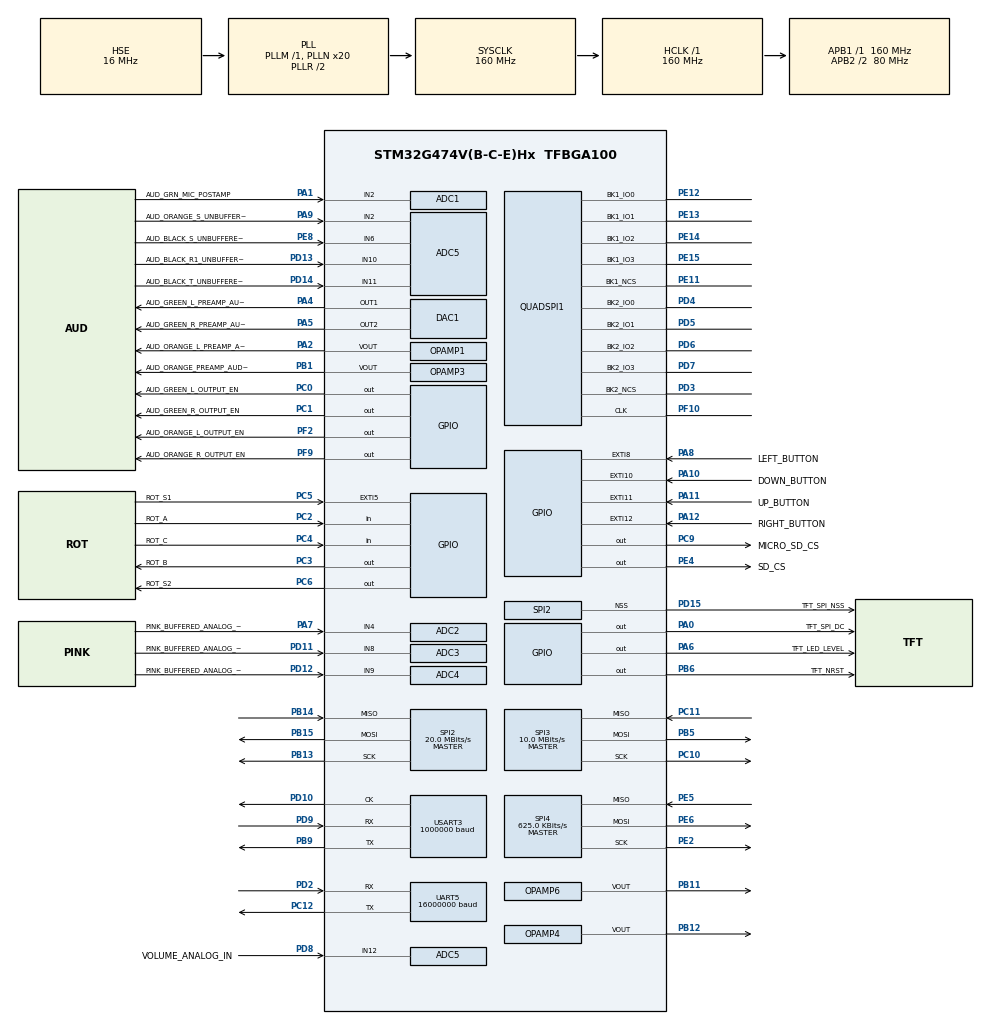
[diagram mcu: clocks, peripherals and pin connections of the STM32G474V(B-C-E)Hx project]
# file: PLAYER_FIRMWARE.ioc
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ADC1.Channel-0\#ChannelRegularConversion=ADC_CHANNEL_2
ADC1.NbrOfConversionFlag=1
ADC1.OffsetNumber-0\#ChannelRegularConversion=ADC_OFFSET_NONE
ADC1.Rank-0\#ChannelRegularConversion=1
ADC1.SamplingTime-0\#ChannelRegularConversion=ADC_SAMPLETIME_2CYCLES_5
ADC1.master=1
ADC2.Channel-0\#ChannelRegularConversion=ADC_CHANNEL_4
ADC2.NbrOfConversionFlag=1
ADC2.OffsetNumber-0\#ChannelRegularConversion=ADC_OFFSET_NONE
ADC2.Rank-0\#ChannelRegularConversion=1
ADC2.SamplingTime-0\#ChannelRegularConversion=ADC_SAMPLETIME_2CYCLES_5
ADC3.Channel-0\#ChannelRegularConversion=ADC_CHANNEL_8
ADC3.NbrOfConversionFlag=1
ADC3.OffsetNumber-0\#ChannelRegularConversion=ADC_OFFSET_NONE
ADC3.Rank-0\#ChannelRegularConversion=1
ADC3.SamplingTime-0\#ChannelRegularConversion=ADC_SAMPLETIME_2CYCLES_5
ADC3.master=1
ADC4.Channel-0\#ChannelRegularConversion=ADC_CHANNEL_9
ADC4.NbrOfConversionFlag=1
ADC4.OffsetNumber-0\#ChannelRegularConversion=ADC_OFFSET_NONE
ADC4.Rank-0\#ChannelRegularConversion=1
ADC4.SamplingTime-0\#ChannelRegularConversion=ADC_SAMPLETIME_2CYCLES_5
ADC5.Channel-0\#ChannelRegularConversion=ADC_CHANNEL_2
ADC5.NbrOfConversionFlag=1
ADC5.OffsetNumber-0\#ChannelRegularConversion=ADC_OFFSET_NONE
ADC5.Rank-0\#ChannelRegularConversion=1
ADC5.SamplingTime-0\#ChannelRegularConversion=ADC_SAMPLETIME_2CYCLES_5
DAC1.DAC_Channel-DAC_OUT2=DAC_CHANNEL_2
DAC1.DAC_DMADoubleDataMode-DAC_OUT1=DISABLE
DAC1.DAC_DMADoubleDataMode-DAC_OUT2=DISABLE
DAC1.DAC_Trigger_OUT1-DAC_OUT1=DAC_TRIGGER_T6_TRGO
DAC1.DAC_Trigger_OUT2-DAC_OUT2=DAC_TRIGGER_T6_TRGO
DAC3.DAC_Channel-DAC_OUT2_Int=DAC_CHANNEL_2
DAC4.DAC_Channel-DAC_OUT2_Int=DAC_CHANNEL_2
Dma.DAC1_CH1.0.Direction=DMA_MEMORY_TO_PERIPH
Dma.DAC1_CH1.0.EventEnable=DISABLE
Dma.DAC1_CH1.0.Instance=DMA1_Channel1
Dma.DAC1_CH1.0.MemDataAlignment=DMA_MDATAALIGN_HALFWORD
Dma.DAC1_CH1.0.MemInc=DMA_MINC_ENABLE
Dma.DAC1_CH1.0.Mode=DMA_CIRCULAR
Dma.DAC1_CH1.0.PeriphDataAlignment=DMA_PDATAALIGN_HALFWORD
Dma.DAC1_CH1.0.PeriphInc=DMA_PINC_DISABLE
Dma.DAC1_CH1.0.Polarity=HAL_DMAMUX_REQ_GEN_RISING
Dma.DAC1_CH1.0.Priority=DMA_PRIORITY_MEDIUM
Dma.DAC1_CH1.0.RequestNumber=1
Dma.DAC1_CH1.0.SignalID=NONE
Dma.DAC1_CH1.0.SyncEnable=DISABLE
Dma.DAC1_CH1.0.SyncPolarity=HAL_DMAMUX_SYNC_NO_EVENT
Dma.DAC1_CH1.0.SyncRequestNumber=1
Dma.DAC1_CH1.0.SyncSignalID=NONE
Dma.DAC1_CH2.2.Direction=DMA_MEMORY_TO_PERIPH
Dma.DAC1_CH2.2.EventEnable=DISABLE
Dma.DAC1_CH2.2.Instance=DMA1_Channel2
Dma.DAC1_CH2.2.MemDataAlignment=DMA_MDATAALIGN_HALFWORD
Dma.DAC1_CH2.2.MemInc=DMA_MINC_ENABLE
Dma.DAC1_CH2.2.Mode=DMA_CIRCULAR
Dma.DAC1_CH2.2.PeriphDataAlignment=DMA_PDATAALIGN_HALFWORD
Dma.DAC1_CH2.2.PeriphInc=DMA_PINC_DISABLE
Dma.DAC1_CH2.2.Polarity=HAL_DMAMUX_REQ_GEN_RISING
Dma.DAC1_CH2.2.Priority=DMA_PRIORITY_MEDIUM
Dma.DAC1_CH2.2.RequestNumber=1
Dma.DAC1_CH2.2.SignalID=NONE
Dma.DAC1_CH2.2.SyncEnable=DISABLE
Dma.DAC1_CH2.2.SyncPolarity=HAL_DMAMUX_SYNC_NO_EVENT
Dma.DAC1_CH2.2.SyncRequestNumber=1
Dma.DAC1_CH2.2.SyncSignalID=NONE
Dma.Request0=DAC1_CH1
Dma.Request1=UART5_TX
Dma.Request2=DAC1_CH2
Dma.UART5_TX.1.Direction=DMA_MEMORY_TO_PERIPH
Dma.UART5_TX.1.EventEnable=ENABLE
Dma.UART5_TX.1.Instance=DMA2_Channel1
Dma.UART5_TX.1.MemDataAlignment=DMA_MDATAALIGN_BYTE
Dma.UART5_TX.1.MemInc=DMA_MINC_ENABLE
Dma.UART5_TX.1.Mode=DMA_NORMAL
Dma.UART5_TX.1.PeriphDataAlignment=DMA_PDATAALIGN_BYTE
Dma.UART5_TX.1.PeriphInc=DMA_PINC_DISABLE
Dma.UART5_TX.1.Polarity=HAL_DMAMUX_REQ_GEN_RISING
Dma.UART5_TX.1.Priority=DMA_PRIORITY_MEDIUM
Dma.UART5_TX.1.RequestNumber=1
Dma.UART5_TX.1.SignalID=NONE
Dma.UART5_TX.1.SyncEnable=DISABLE
Dma.UART5_TX.1.SyncPolarity=HAL_DMAMUX_SYNC_NO_EVENT
Dma.UART5_TX.1.SyncRequestNumber=1
Dma.UART5_TX.1.SyncSignalID=NONE
FATFS._MAX_LFN=128
FATFS._USE_LFN=3
FREERTOS.INCLUDE_pcTaskGetTaskName=1
FREERTOS.INCLUDE_xTaskGetHandle=1
FREERTOS.Tasks01=defaultTask,24,512,StartDefaultTask,Default,NULL,Static,defaultTaskBuffer,defaultTaskControlBlock
FREERTOS.configENABLE_FPU=1
FREERTOS.configMAX_TASK_NAME_LEN=64
FREERTOS.configUSE_NEWLIB_REENTRANT=1
Mcu.Family=STM32G4
Mcu.Name=STM32G474V(B-C-E)Hx
Mcu.Package=TFBGA100
NVIC.DMA1_Channel1_IRQn=true\:5\:0\:false\:false\:true\:false\:false\:true\:true
NVIC.DMA1_Channel2_IRQn=true\:5\:0\:false\:false\:true\:true\:false\:true\:true
NVIC.DMA2_Channel1_IRQn=true\:5\:0\:false\:false\:true\:false\:false\:true\:true
NVIC.DMAMUX_OVR_IRQn=true\:5\:0\:false\:false\:true\:false\:false\:true\:true
NVIC.EXTI15_10_IRQn=true\:5\:0\:false\:false\:true\:true\:true\:true\:true
NVIC.EXTI9_5_IRQn=true\:5\:0\:false\:false\:true\:true\:true\:true\:true
NVIC.PriorityGroup=NVIC_PRIORITYGROUP_4
NVIC.SPI4_IRQn=true\:5\:0\:false\:false\:true\:true\:true\:true\:true
NVIC.TIM2_IRQn=true\:5\:0\:false\:false\:true\:true\:true\:true\:true
NVIC.TIM6_DAC_IRQn=true\:5\:0\:false\:false\:true\:true\:true\:true\:true
NVIC.TIM7_DAC_IRQn=true\:15\:0\:false\:false\:true\:false\:false\:true\:true
NVIC.TimeBase=TIM7_DAC_IRQn
NVIC.TimeBaseIP=TIM7
NVIC.UART5_IRQn=true\:5\:0\:false\:false\:true\:true\:true\:true\:true
PA0.GPIO_Label=TFT_SPI_DC
PA0.Signal=GPIO_Output
PA1.GPIO_Label=AUD_GRN_MIC_POSTAMP
PA1.Mode=IN2-Single-Ended
PA1.Signal=ADC1_IN2
PA10.GPIO_Label=DOWN_BUTTON
PA10.GPIO_ModeDefaultEXTI=GPIO_MODE_IT_RISING_FALLING
PA10.GPIO_PuPd=GPIO_PULLUP
PA10.Signal=GPXTI10
PA11.GPIO_Label=UP_BUTTON
PA11.GPIO_ModeDefaultEXTI=GPIO_MODE_IT_RISING_FALLING
PA11.GPIO_PuPd=GPIO_PULLUP
PA11.Signal=GPXTI11
PA12.GPIO_Label=RIGHT_BUTTON
PA12.GPIO_ModeDefaultEXTI=GPIO_MODE_IT_RISING_FALLING
PA12.GPIO_PuPd=GPIO_PULLUP
PA12.Signal=GPXTI12
PA13.Mode=JTAG_5_pins
PA13.Signal=SYS_JTMS-SWDIO
PA14.Mode=JTAG_5_pins
PA14.Signal=SYS_JTCK-SWCLK
PA15.Mode=JTAG_5_pins
PA15.Signal=SYS_JTDI
PA2.GPIO_Label=AUD_ORANGE_L_PREAMP_AUDIO
PA2.Mode=Follower-DAC_OUT2-INP
PA2.Signal=OPAMP1_VOUT
PA4.GPIO_Label=AUD_GREEN_L_PREAMP_AUDIO
PA4.Signal=COMP_DAC11_group
PA5.GPIO_Label=AUD_GREEN_R_PREAMP_AUDIO
PA5.Signal=COMP_DAC12_group
PA6.GPIO_Label=TFT_LED_LEVEL
PA6.Signal=GPIO_Output
PA7.GPIO_Label=PINK_BUFFERED_ANALOG_IN_S
PA7.Mode=IN4-Single-Ended
PA7.Signal=ADC2_IN4
PA8.GPIO_Label=LEFT_BUTTON
PA8.GPIO_ModeDefaultEXTI=GPIO_MODE_IT_RISING_FALLING
PA8.GPIO_PuPd=GPIO_PULLUP
PA8.Signal=GPXTI8
PA9.GPIO_Label=AUD_ORANGE_S_UNBUFFERED_IN
PA9.Mode=IN2-Single-Ended
PA9.Signal=ADC5_IN2
PB1.GPIO_Label=AUD_ORANGE_PREAMP_AUDIO
PB1.Mode=Follower-DAC_OUT2-INP
PB1.Signal=OPAMP3_VOUT
PB11.Mode=Follower-DAC_OUT2-INP
PB11.Signal=OPAMP6_VOUT
PB12.Mode=Follower-DAC_OUT2-INP
PB12.Signal=OPAMP4_VOUT
PB13.Mode=Full_Duplex_Master
PB13.Signal=SPI2_SCK
PB14.Mode=Full_Duplex_Master
PB14.Signal=SPI2_MISO
PB15.Mode=Full_Duplex_Master
PB15.Signal=SPI2_MOSI
PB3.Mode=JTAG_5_pins
PB3.Signal=SYS_JTDO-SWO
PB4.Mode=JTAG_5_pins
PB4.Signal=SYS_JTRST
PB5.Mode=Full_Duplex_Master
PB5.Signal=SPI3_MOSI
PB6.GPIO_Label=TFT_NRST
PB6.Signal=GPIO_Output
PB9.Mode=Synchronous
PB9.Signal=USART3_TX
PC0.GPIO_Label=AUD_GREEN_L_OUTPUT_EN
PC0.Signal=GPIO_Output
PC1.GPIO_Label=AUD_GREEN_R_OUTPUT_EN
PC1.Signal=GPIO_Output
PC10.Mode=Full_Duplex_Master
PC10.Signal=SPI3_SCK
PC11.Mode=Full_Duplex_Master
PC11.Signal=SPI3_MISO
PC12.Mode=Asynchronous
PC12.Signal=UART5_TX
PC14-OSC32_IN.Mode=LSE-External-Oscillator
PC14-OSC32_IN.Signal=RCC_OSC32_IN
PC15-OSC32_OUT.Mode=LSE-External-Oscillator
PC15-OSC32_OUT.Signal=RCC_OSC32_OUT
PC2.GPIO_Label=ROT_A
PC2.GPIO_PuPd=GPIO_PULLUP
PC2.Signal=GPIO_Input
PC3.GPIO_Label=ROT_B
PC3.Signal=GPIO_Output
PC4.GPIO_Label=ROT_C
PC4.GPIO_PuPd=GPIO_PULLUP
PC4.Signal=GPIO_Input
PC5.GPIO_Label=ROT_S1
PC5.GPIO_ModeDefaultEXTI=GPIO_MODE_IT_RISING_FALLING
PC5.GPIO_PuPd=GPIO_PULLUP
PC5.Signal=GPXTI5
PC6.GPIO_Label=ROT_S2
PC6.Signal=GPIO_Output
PC9.GPIO_Label=MICRO_SD_CS
PC9.Signal=GPIO_Output
PD1.GPIO_Label=BRIDGE_CLK
PD1.Signal=S_TIM8_CH4
PD10.Mode=Synchronous
PD10.Signal=USART3_CK
PD11.GPIO_Label=PINK_BUFFERED_ANALOG_IN_R1
PD11.Mode=IN8-Single-Ended
PD11.Signal=ADC3_IN8
PD12.GPIO_Label=PINK_BUFFERED_ANALOG_IN_T
PD12.Mode=IN9-Single-Ended
PD12.Signal=ADC4_IN9
PD13.GPIO_Label=AUD_BLACK_R1_UNBUFFERED_IN
PD13.Mode=IN10-Single-Ended
PD13.Signal=ADC5_IN10
PD14.GPIO_Label=AUD_BLACK_T_UNBUFFERED_IN
PD14.Mode=IN11-Single-Ended
PD14.Signal=ADC5_IN11
PD15.GPIO_Label=TFT_SPI_NSS
PD15.Mode=NSS_Signal_Hard_Output
PD15.Signal=SPI2_NSS
PD2.Mode=Asynchronous
PD2.Signal=UART5_RX
PD3.Mode=Enable Chip Select for each bank
PD3.Signal=QUADSPI1_BK2_NCS
PD4.Mode=Dual Bank
PD4.Signal=QUADSPI1_BK2_IO0
PD5.Mode=Dual Bank
PD5.Signal=QUADSPI1_BK2_IO1
PD6.Mode=Dual Bank
PD6.Signal=QUADSPI1_BK2_IO2
PD7.Mode=Dual Bank
PD7.Signal=QUADSPI1_BK2_IO3
PD8.GPIO_Label=VOLUME_ANALOG_IN
PD8.Mode=IN12-Single-Ended
PD8.Signal=ADC5_IN12
PD9.Mode=Synchronous
PD9.Signal=USART3_RX
PE11.Mode=Enable Chip Select for each bank
PE11.Signal=QUADSPI1_BK1_NCS
PE12.Mode=Dual Bank
PE12.Signal=QUADSPI1_BK1_IO0
PE13.Mode=Dual Bank
PE13.Signal=QUADSPI1_BK1_IO1
PE14.Mode=Dual Bank
PE14.Signal=QUADSPI1_BK1_IO2
PE15.Mode=Dual Bank
PE15.Signal=QUADSPI1_BK1_IO3
PE2.GPIO_PuPd=GPIO_PULLUP
PE2.GPIO_Speed=GPIO_SPEED_FREQ_VERY_HIGH
PE2.Mode=Full_Duplex_Master
PE2.Signal=SPI4_SCK
PE4.GPIO_Label=SD_CS
PE4.GPIO_Speed=GPIO_SPEED_FREQ_VERY_HIGH
PE4.PinState=GPIO_PIN_SET
PE4.Signal=GPIO_Output
PE5.GPIO_PuPd=GPIO_PULLUP
PE5.GPIO_Speed=GPIO_SPEED_FREQ_VERY_HIGH
PE5.Mode=Full_Duplex_Master
PE5.Signal=SPI4_MISO
PE6.GPIO_PuPd=GPIO_PULLUP
PE6.GPIO_Speed=GPIO_SPEED_FREQ_VERY_HIGH
PE6.Mode=Full_Duplex_Master
PE6.Signal=SPI4_MOSI
PE8.GPIO_Label=AUD_BLACK_S_UNBUFFERED_IN
PE8.Mode=IN6-Single-Ended
PE8.Signal=ADC5_IN6
PF0-OSC_IN.Mode=HSE-External-Oscillator
PF0-OSC_IN.Signal=RCC_OSC_IN
PF1-OSC_OUT.Mode=HSE-External-Oscillator
PF1-OSC_OUT.Signal=RCC_OSC_OUT
PF10.Mode=Dual Bank
PF10.Signal=QUADSPI1_CLK
PF2.GPIO_Label=AUD_ORANGE_L_OUTPUT_EN
PF2.Signal=GPIO_Output
PF9.GPIO_Label=AUD_ORANGE_R_OUTPUT_EN
PF9.Signal=GPIO_Output
ProjectManager.HeapSize=0x200
ProjectManager.StackSize=0x400
ProjectManager.TargetToolchain=STM32CubeIDE
QUADSPI1.ClockMode=QSPI_CLOCK_MODE_3
QUADSPI1.ClockPrescaler=1
QUADSPI1.FlashSize=25
RCC.ADC12Freq_Value=160000000
RCC.ADC345Freq_Value=160000000
RCC.AHBFreq_Value=160000000
RCC.APB1Freq_Value=160000000
RCC.APB1TimFreq_Value=160000000
RCC.APB2CLKDivider=RCC_HCLK_DIV2
RCC.APB2Freq_Value=80000000
RCC.APB2TimFreq_Value=160000000
RCC.CortexFreq_Value=160000000
RCC.EXTERNAL_CLOCK_VALUE=12288000
RCC.EnbaleCSS=true
RCC.HCLKFreq_Value=160000000
RCC.HSE_VALUE=16000000
RCC.HSI48_VALUE=48000000
RCC.HSI_VALUE=16000000
RCC.PLLN=20
RCC.PLLQ=RCC_PLLQ_DIV4
RCC.PLLSourceVirtual=RCC_PLLSOURCE_HSE
RCC.SYSCLKFreq_VALUE=160000000
RCC.SYSCLKSource=RCC_SYSCLKSOURCE_PLLCLK
RCC.UART5CLockSelection=RCC_UART5CLKSOURCE_SYSCLK
RCC.USBFreq_Value=80000000
RCC.VCOOutputFreq_Value=320000000
SH.COMP_DAC11_group.0=DAC1_OUT1,DAC_OUT1
SH.COMP_DAC12_group.0=DAC1_OUT2,DAC_OUT2
SH.S_TIM8_CH4.0=TIM8_CH4
SPI2.BaudRatePrescaler=SPI_BAUDRATEPRESCALER_8
SPI2.CalculateBaudRate=20.0 MBits/s
SPI2.DataSize=SPI_DATASIZE_8BIT
SPI2.Direction=SPI_DIRECTION_2LINES
SPI2.Mode=SPI_MODE_MASTER
SPI2.VirtualNSS=VM_NSSHARD
SPI2.VirtualType=VM_MASTER
SPI3.BaudRatePrescaler=SPI_BAUDRATEPRESCALER_16
SPI3.CalculateBaudRate=10.0 MBits/s
SPI3.DataSize=SPI_DATASIZE_8BIT
SPI3.Direction=SPI_DIRECTION_2LINES
SPI3.Mode=SPI_MODE_MASTER
SPI3.VirtualType=VM_MASTER
SPI4.BaudRatePrescaler=SPI_BAUDRATEPRESCALER_128
SPI4.CLKPolarity=SPI_POLARITY_LOW
SPI4.CalculateBaudRate=625.0 KBits/s
SPI4.DataSize=SPI_DATASIZE_8BIT
SPI4.Direction=SPI_DIRECTION_2LINES
SPI4.Mode=SPI_MODE_MASTER
SPI4.NSSPMode=SPI_NSS_PULSE_DISABLE
SPI4.VirtualType=VM_MASTER
TIM2.PeriodNoDither=10
TIM2.Prescaler=15999
TIM6.AutoReloadPreload=TIM_AUTORELOAD_PRELOAD_ENABLE
TIM6.PeriodNoDither=(3628/2)-1
TIM6.TIM_MasterOutputTrigger=TIM_TRGO_UPDATE
UART5.BaudRate=16000000
UART5.FIFOMode=FIFOMODE_ENABLE
UART5.OverSampling=UART_OVERSAMPLING_8
UART5.StopBits=UART_STOPBITS_2
UART5.SwapParam=UART_ADVFEATURE_SWAP_ENABLE
USART3.BaudRate=1000000
USART3.VirtualMode-Synchronous=VM_SYNC
VP_DAC3_VS_DACI1.Mode=DAC_OUT1_Int
VP_DAC3_VS_DACI2.Mode=DAC_OUT2_Int
VP_DAC4_VS_DACI1.Mode=DAC_OUT1_Int
VP_DAC4_VS_DACI2.Mode=DAC_OUT2_Int
VP_FATFS_VS_Generic.Mode=User_defined
VP_FREERTOS_VS_CMSIS_V2.Mode=CMSIS_V2
VP_SYS_VS_DBSignals.Mode=DisableDeadBatterySignals
VP_SYS_VS_tim7.Mode=TIM7
VP_TIM2_VS_ClockSourceINT.Mode=Internal
VP_TIM6_VS_ClockSourceINT.Mode=Enable_Timer
board=custom

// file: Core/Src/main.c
/* USER CODE BEGIN Header */
/**
  ******************************************************************************
  * @file           : main.c
  * @brief          : Main program body
  ******************************************************************************
  * @attention
  *
  * Copyright (c) 2024 STMicroelectronics.
  * All rights reserved.
  *
  * This software is licensed under terms that can be found in the LICENSE file
  * in the root directory of this software component.
  * If no LICENSE file comes with this software, it is provided AS-IS.
  *
  ******************************************************************************
  */
/* USER CODE END Header */
#include "main.h"
#include "cmsis_os.h"
#include "app_fatfs.h"

/* USER CODE BEGIN Includes */
#include <string.h>
#include <stdbool.h>

#include <FreeRTOS.h>
#include <task.h>

#include "stm32g4xx_hal.h"

#include "console.h"
#include "buttons.h"
/* USER CODE END Includes */

typedef StaticTask_t osStaticThreadDef_t;

ADC_HandleTypeDef hadc1;
ADC_HandleTypeDef hadc2;
ADC_HandleTypeDef hadc3;
ADC_HandleTypeDef hadc4;
ADC_HandleTypeDef hadc5;

DAC_HandleTypeDef hdac1;
DAC_HandleTypeDef hdac3;
DAC_HandleTypeDef hdac4;
DMA_HandleTypeDef hdma_dac1_ch1;
DMA_HandleTypeDef hdma_dac1_ch2;

OPAMP_HandleTypeDef hopamp1;
OPAMP_HandleTypeDef hopamp3;
OPAMP_HandleTypeDef hopamp4;
OPAMP_HandleTypeDef hopamp6;

QSPI_HandleTypeDef hqspi1;

SPI_HandleTypeDef hspi2;
SPI_HandleTypeDef hspi3;
SPI_HandleTypeDef hspi4;

TIM_HandleTypeDef htim2;
TIM_HandleTypeDef htim6;

UART_HandleTypeDef huart5;
USART_HandleTypeDef husart3;
DMA_HandleTypeDef hdma_uart5_tx;

/* Definitions for defaultTask */
osThreadId_t defaultTaskHandle;
uint32_t defaultTaskBuffer[ 512 ];
osStaticThreadDef_t defaultTaskControlBlock;
const osThreadAttr_t defaultTask_attributes = {
  .name = "defaultTask",
  .stack_mem = &defaultTaskBuffer[0],
  .stack_size = sizeof(defaultTaskBuffer),
  .cb_mem = &defaultTaskControlBlock,
  .cb_size = sizeof(defaultTaskControlBlock),
  .priority = (osPriority_t) osPriorityNormal,
};
/* USER CODE BEGIN PV */
	int counter;
	bool freeRTOS_ready = false;
/* USER CODE END PV */

void SystemClock_Config(void);
static void MX_GPIO_Init(void);
static void MX_DMA_Init(void);
static void MX_DAC1_Init(void);
static void MX_DAC3_Init(void);
static void MX_DAC4_Init(void);
static void MX_OPAMP1_Init(void);
static void MX_OPAMP3_Init(void);
static void MX_OPAMP4_Init(void);
static void MX_OPAMP6_Init(void);
static void MX_QUADSPI1_Init(void);
static void MX_SPI2_Init(void);
static void MX_SPI3_Init(void);
static void MX_SPI4_Init(void);
static void MX_UART5_Init(void);
static void MX_USART3_Init(void);
static void MX_ADC1_Init(void);
static void MX_ADC2_Init(void);
static void MX_ADC3_Init(void);
static void MX_ADC4_Init(void);
static void MX_ADC5_Init(void);
static void MX_TIM6_Init(void);
static void MX_TIM2_Init(void);
void StartDefaultTask(void *argument);

/* USER CODE BEGIN 0 */
#include "jeremy.h"
#include "wyatt.h"
#include "bryant.h"
#include "braeden.h"
#include "console.h"

uint8_t __attribute__((section(".sram2"))) wyatt_memspace[4096];
uint8_t __attribute__((section(".sram2"))) bryant_memspace[4096];
uint8_t __attribute__((section(".sram2"))) braeden_memspace[4096];
uint8_t __attribute__((section(".sram2"))) jeremy_memspace[4096];
uint8_t __attribute__((section(".ccm_sram_all"))) console_memspace[2048];

uint8_t __attribute__((section(".sram1_upper"))) audio_buffer[AUD_BUFFER_SIZE]; //48k

/* USER CODE END 0 */

int main(void)
{

  /* MCU Configuration--------------------------------------------------------*/

  /* Reset of all peripherals, Initializes the Flash interface and the Systick. */
  HAL_Init();

  /* Configure the system clock */
  SystemClock_Config();

  /* Initialize all configured peripherals */
  MX_GPIO_Init();
  MX_DMA_Init();
  MX_DAC1_Init();
  MX_DAC3_Init();
  MX_DAC4_Init();
  MX_OPAMP1_Init();
  MX_OPAMP3_Init();
  MX_OPAMP4_Init();
  MX_OPAMP6_Init();
  MX_QUADSPI1_Init();
  MX_SPI2_Init();
  MX_SPI3_Init();
  MX_SPI4_Init();
  MX_UART5_Init();
  MX_USART3_Init();
  MX_ADC1_Init();
  MX_ADC2_Init();
  MX_ADC3_Init();
  MX_ADC4_Init();
  MX_ADC5_Init();
  if (MX_FATFS_Init() != APP_OK) {
    Error_Handler();
  }
  MX_TIM6_Init();
  MX_TIM2_Init();
  /* USER CODE BEGIN 2 */
  empty_console_memory();
  HAL_TIM_Base_Start_IT(&htim2);
  {
	  HAL_UART_Transmit(&CONSOLE_UART_HANDLE, "\n\n-------------------------------\n" , 33, 0xFFFF);
	  const char tmp[] = "----Peripherals Initialized----\n";
	  const char tmp2[] = "\n----SYSTEM RESET---------------\n";
	  HAL_UART_Transmit(&CONSOLE_UART_HANDLE, tmp2, sizeof(tmp2) , 0xFFFF);
	  HAL_UART_Transmit(&CONSOLE_UART_HANDLE, tmp, sizeof(tmp) , 0xFFFF);
	  HAL_UART_Transmit(&CONSOLE_UART_HANDLE, "Build: " , 7, 0xFFFF);
	  HAL_UART_Transmit(&CONSOLE_UART_HANDLE, __DATE__, sizeof(__DATE__) , 0xFFFF);
	  HAL_UART_Transmit(&CONSOLE_UART_HANDLE, " " , 1, 0xFFFF);
	  HAL_UART_Transmit(&CONSOLE_UART_HANDLE, __TIME__, sizeof(__TIME__) , 0xFFFF);
	  HAL_UART_Transmit(&CONSOLE_UART_HANDLE, "\n" , 1, 0xFFFF);
	  HAL_UART_Transmit(&CONSOLE_UART_HANDLE, "-------------------------------\n" , 32, 0xFFFF);
  }
  freeRTOS_ready = true;
  HAL_TIM_Base_Start_IT(&AUDIO_44_1_KHZ_TIMER);
  /* USER CODE END 2 */

  /* Init scheduler */
  osKernelInitialize();

  /* Create the thread(s) */
  /* creation of defaultTask */
  defaultTaskHandle = osThreadNew(StartDefaultTask, NULL, &defaultTask_attributes);

  /* USER CODE BEGIN RTOS_THREADS */
  static StaticTask_t threads[5];
  xTaskCreateStatic(console_main, 	"console_main_thread", 	512, NULL, 5, (StackType_t *)console_memspace, 	&threads[4]);
  xTaskCreateStatic(wyatt_main, 	"wyatt_main_thread", 	1024, NULL, 5, (StackType_t *)wyatt_memspace, 	&threads[0]);
  xTaskCreateStatic(jeremy_main, 	"jeremy_main_thread", 	1024, NULL, 5, (StackType_t *)jeremy_memspace, 	&threads[1]);
  xTaskCreateStatic(bryant_main, 	"bryant_main_thread", 	1024, NULL, 5, (StackType_t *)bryant_memspace, 	&threads[2]);
  xTaskCreateStatic(braeden_main, 	"braeden_main_thread", 	1024, NULL, 5, (StackType_t *)braeden_memspace, &threads[3]);

  /* USER CODE END RTOS_THREADS */

  /* Start scheduler */
  osKernelStart();
  /* We should never get here as control is now taken by the scheduler */
  /* Infinite loop */
  while (1)
  {

  }
}

void SystemClock_Config(void)
{
  RCC_OscInitTypeDef RCC_OscInitStruct = {0};
  RCC_ClkInitTypeDef RCC_ClkInitStruct = {0};

  /** Configure the main internal regulator output voltage
  */
  HAL_PWREx_ControlVoltageScaling(PWR_REGULATOR_VOLTAGE_SCALE1_BOOST);

  /** Initializes the RCC Oscillators according to the specified parameters
  * in the RCC_OscInitTypeDef structure.
  */
  RCC_OscInitStruct.OscillatorType = RCC_OSCILLATORTYPE_HSE;
  RCC_OscInitStruct.HSEState = RCC_HSE_ON;
  RCC_OscInitStruct.PLL.PLLState = RCC_PLL_ON;
  RCC_OscInitStruct.PLL.PLLSource = RCC_PLLSOURCE_HSE;
  RCC_OscInitStruct.PLL.PLLM = RCC_PLLM_DIV1;
  RCC_OscInitStruct.PLL.PLLN = 20;
  RCC_OscInitStruct.PLL.PLLP = RCC_PLLP_DIV2;
  RCC_OscInitStruct.PLL.PLLQ = RCC_PLLQ_DIV4;
  RCC_OscInitStruct.PLL.PLLR = RCC_PLLR_DIV2;
  if (HAL_RCC_OscConfig(&RCC_OscInitStruct) != HAL_OK)
  {
    Error_Handler();
  }

  /** Initializes the CPU, AHB and APB buses clocks
  */
  RCC_ClkInitStruct.ClockType = RCC_CLOCKTYPE_HCLK|RCC_CLOCKTYPE_SYSCLK
                              |RCC_CLOCKTYPE_PCLK1|RCC_CLOCKTYPE_PCLK2;
  RCC_ClkInitStruct.SYSCLKSource = RCC_SYSCLKSOURCE_PLLCLK;
  RCC_ClkInitStruct.AHBCLKDivider = RCC_SYSCLK_DIV1;
  RCC_ClkInitStruct.APB1CLKDivider = RCC_HCLK_DIV1;
  RCC_ClkInitStruct.APB2CLKDivider = RCC_HCLK_DIV2;

  if (HAL_RCC_ClockConfig(&RCC_ClkInitStruct, FLASH_LATENCY_4) != HAL_OK)
  {
    Error_Handler();
  }

  /** Enables the Clock Security System
  */
  HAL_RCC_EnableCSS();
}

static void MX_ADC1_Init(void)
{

  ADC_MultiModeTypeDef multimode = {0};
  ADC_ChannelConfTypeDef sConfig = {0};

  /** Common config
  */
  hadc1.Instance = ADC1;
  hadc1.Init.ClockPrescaler = ADC_CLOCK_SYNC_PCLK_DIV4;
  hadc1.Init.Resolution = ADC_RESOLUTION_12B;
  hadc1.Init.DataAlign = ADC_DATAALIGN_RIGHT;
  hadc1.Init.GainCompensation = 0;
  hadc1.Init.ScanConvMode = ADC_SCAN_DISABLE;
  hadc1.Init.EOCSelection = ADC_EOC_SINGLE_CONV;
  hadc1.Init.LowPowerAutoWait = DISABLE;
  hadc1.Init.ContinuousConvMode = DISABLE;
  hadc1.Init.NbrOfConversion = 1;
  hadc1.Init.DiscontinuousConvMode = DISABLE;
  hadc1.Init.ExternalTrigConv = ADC_SOFTWARE_START;
  hadc1.Init.ExternalTrigConvEdge = ADC_EXTERNALTRIGCONVEDGE_NONE;
  hadc1.Init.DMAContinuousRequests = DISABLE;
  hadc1.Init.Overrun = ADC_OVR_DATA_PRESERVED;
  hadc1.Init.OversamplingMode = DISABLE;
  if (HAL_ADC_Init(&hadc1) != HAL_OK)
  {
    Error_Handler();
  }

  /** Configure the ADC multi-mode
  */
  multimode.Mode = ADC_MODE_INDEPENDENT;
  if (HAL_ADCEx_MultiModeConfigChannel(&hadc1, &multimode) != HAL_OK)
  {
    Error_Handler();
  }

  /** Configure Regular Channel
  */
  sConfig.Channel = ADC_CHANNEL_2;
  sConfig.Rank = ADC_REGULAR_RANK_1;
  sConfig.SamplingTime = ADC_SAMPLETIME_2CYCLES_5;
  sConfig.SingleDiff = ADC_SINGLE_ENDED;
  sConfig.OffsetNumber = ADC_OFFSET_NONE;
  sConfig.Offset = 0;
  if (HAL_ADC_ConfigChannel(&hadc1, &sConfig) != HAL_OK)
  {
    Error_Handler();
  }

}

static void MX_ADC2_Init(void)
{

  ADC_ChannelConfTypeDef sConfig = {0};

  /** Common config
  */
  hadc2.Instance = ADC2;
  hadc2.Init.ClockPrescaler = ADC_CLOCK_SYNC_PCLK_DIV4;
  hadc2.Init.Resolution = ADC_RESOLUTION_12B;
  hadc2.Init.DataAlign = ADC_DATAALIGN_RIGHT;
  hadc2.Init.GainCompensation = 0;
  hadc2.Init.ScanConvMode = ADC_SCAN_DISABLE;
  hadc2.Init.EOCSelection = ADC_EOC_SINGLE_CONV;
  hadc2.Init.LowPowerAutoWait = DISABLE;
  hadc2.Init.ContinuousConvMode = DISABLE;
  hadc2.Init.NbrOfConversion = 1;
  hadc2.Init.DiscontinuousConvMode = DISABLE;
  hadc2.Init.ExternalTrigConv = ADC_SOFTWARE_START;
  hadc2.Init.ExternalTrigConvEdge = ADC_EXTERNALTRIGCONVEDGE_NONE;
  hadc2.Init.DMAContinuousRequests = DISABLE;
  hadc2.Init.Overrun = ADC_OVR_DATA_PRESERVED;
  hadc2.Init.OversamplingMode = DISABLE;
  if (HAL_ADC_Init(&hadc2) != HAL_OK)
  {
    Error_Handler();
  }

  /** Configure Regular Channel
  */
  sConfig.Channel = ADC_CHANNEL_4;
  sConfig.Rank = ADC_REGULAR_RANK_1;
  sConfig.SamplingTime = ADC_SAMPLETIME_2CYCLES_5;
  sConfig.SingleDiff = ADC_SINGLE_ENDED;
  sConfig.OffsetNumber = ADC_OFFSET_NONE;
  sConfig.Offset = 0;
  if (HAL_ADC_ConfigChannel(&hadc2, &sConfig) != HAL_OK)
  {
    Error_Handler();
  }

}

static void MX_ADC3_Init(void)
{

  ADC_MultiModeTypeDef multimode = {0};
  ADC_ChannelConfTypeDef sConfig = {0};

  /** Common config
  */
  hadc3.Instance = ADC3;
  hadc3.Init.ClockPrescaler = ADC_CLOCK_SYNC_PCLK_DIV4;
  hadc3.Init.Resolution = ADC_RESOLUTION_12B;
  hadc3.Init.DataAlign = ADC_DATAALIGN_RIGHT;
  hadc3.Init.GainCompensation = 0;
  hadc3.Init.ScanConvMode = ADC_SCAN_DISABLE;
  hadc3.Init.EOCSelection = ADC_EOC_SINGLE_CONV;
  hadc3.Init.LowPowerAutoWait = DISABLE;
  hadc3.Init.ContinuousConvMode = DISABLE;
  hadc3.Init.NbrOfConversion = 1;
  hadc3.Init.DiscontinuousConvMode = DISABLE;
  hadc3.Init.ExternalTrigConv = ADC_SOFTWARE_START;
  hadc3.Init.ExternalTrigConvEdge = ADC_EXTERNALTRIGCONVEDGE_NONE;
  hadc3.Init.DMAContinuousRequests = DISABLE;
  hadc3.Init.Overrun = ADC_OVR_DATA_PRESERVED;
  hadc3.Init.OversamplingMode = DISABLE;
  if (HAL_ADC_Init(&hadc3) != HAL_OK)
  {
    Error_Handler();
  }

  /** Configure the ADC multi-mode
  */
  multimode.Mode = ADC_MODE_INDEPENDENT;
  if (HAL_ADCEx_MultiModeConfigChannel(&hadc3, &multimode) != HAL_OK)
  {
    Error_Handler();
  }

  /** Configure Regular Channel
  */
  sConfig.Channel = ADC_CHANNEL_8;
  sConfig.Rank = ADC_REGULAR_RANK_1;
  sConfig.SamplingTime = ADC_SAMPLETIME_2CYCLES_5;
  sConfig.SingleDiff = ADC_SINGLE_ENDED;
  sConfig.OffsetNumber = ADC_OFFSET_NONE;
  sConfig.Offset = 0;
  if (HAL_ADC_ConfigChannel(&hadc3, &sConfig) != HAL_OK)
  {
    Error_Handler();
  }

}

static void MX_ADC4_Init(void)
{

  ADC_ChannelConfTypeDef sConfig = {0};

  /** Common config
  */
  hadc4.Instance = ADC4;
  hadc4.Init.ClockPrescaler = ADC_CLOCK_SYNC_PCLK_DIV4;
  hadc4.Init.Resolution = ADC_RESOLUTION_12B;
  hadc4.Init.DataAlign = ADC_DATAALIGN_RIGHT;
  hadc4.Init.GainCompensation = 0;
  hadc4.Init.ScanConvMode = ADC_SCAN_DISABLE;
  hadc4.Init.EOCSelection = ADC_EOC_SINGLE_CONV;
  hadc4.Init.LowPowerAutoWait = DISABLE;
  hadc4.Init.ContinuousConvMode = DISABLE;
  hadc4.Init.NbrOfConversion = 1;
  hadc4.Init.DiscontinuousConvMode = DISABLE;
  hadc4.Init.ExternalTrigConv = ADC_SOFTWARE_START;
  hadc4.Init.ExternalTrigConvEdge = ADC_EXTERNALTRIGCONVEDGE_NONE;
  hadc4.Init.DMAContinuousRequests = DISABLE;
  hadc4.Init.Overrun = ADC_OVR_DATA_PRESERVED;
  hadc4.Init.OversamplingMode = DISABLE;
  if (HAL_ADC_Init(&hadc4) != HAL_OK)
  {
    Error_Handler();
  }

  /** Configure Regular Channel
  */
  sConfig.Channel = ADC_CHANNEL_9;
  sConfig.Rank = ADC_REGULAR_RANK_1;
  sConfig.SamplingTime = ADC_SAMPLETIME_2CYCLES_5;
  sConfig.SingleDiff = ADC_SINGLE_ENDED;
  sConfig.OffsetNumber = ADC_OFFSET_NONE;
  sConfig.Offset = 0;
  if (HAL_ADC_ConfigChannel(&hadc4, &sConfig) != HAL_OK)
  {
    Error_Handler();
  }

}

static void MX_ADC5_Init(void)
{

  ADC_ChannelConfTypeDef sConfig = {0};

  /** Common config
  */
  hadc5.Instance = ADC5;
  hadc5.Init.ClockPrescaler = ADC_CLOCK_SYNC_PCLK_DIV4;
  hadc5.Init.Resolution = ADC_RESOLUTION_12B;
  hadc5.Init.DataAlign = ADC_DATAALIGN_RIGHT;
  hadc5.Init.GainCompensation = 0;
  hadc5.Init.ScanConvMode = ADC_SCAN_DISABLE;
  hadc5.Init.EOCSelection = ADC_EOC_SINGLE_CONV;
  hadc5.Init.LowPowerAutoWait = DISABLE;
  hadc5.Init.ContinuousConvMode = DISABLE;
  hadc5.Init.NbrOfConversion = 1;
  hadc5.Init.DiscontinuousConvMode = DISABLE;
  hadc5.Init.ExternalTrigConv = ADC_SOFTWARE_START;
  hadc5.Init.ExternalTrigConvEdge = ADC_EXTERNALTRIGCONVEDGE_NONE;
  hadc5.Init.DMAContinuousRequests = DISABLE;
  hadc5.Init.Overrun = ADC_OVR_DATA_PRESERVED;
  hadc5.Init.OversamplingMode = DISABLE;
  if (HAL_ADC_Init(&hadc5) != HAL_OK)
  {
    Error_Handler();
  }

  /** Configure Regular Channel
  */
  sConfig.Channel = ADC_CHANNEL_2;
  sConfig.Rank = ADC_REGULAR_RANK_1;
  sConfig.SamplingTime = ADC_SAMPLETIME_2CYCLES_5;
  sConfig.SingleDiff = ADC_SINGLE_ENDED;
  sConfig.OffsetNumber = ADC_OFFSET_NONE;
  sConfig.Offset = 0;
  if (HAL_ADC_ConfigChannel(&hadc5, &sConfig) != HAL_OK)
  {
    Error_Handler();
  }

}

static void MX_DAC1_Init(void)
{

  DAC_ChannelConfTypeDef sConfig = {0};

  /** DAC Initialization
  */
  hdac1.Instance = DAC1;
  if (HAL_DAC_Init(&hdac1) != HAL_OK)
  {
    Error_Handler();
  }

  /** DAC channel OUT1 config
  */
  sConfig.DAC_HighFrequency = DAC_HIGH_FREQUENCY_INTERFACE_MODE_AUTOMATIC;
  sConfig.DAC_DMADoubleDataMode = DISABLE;
  sConfig.DAC_SignedFormat = DISABLE;
  sConfig.DAC_SampleAndHold = DAC_SAMPLEANDHOLD_DISABLE;
  sConfig.DAC_Trigger = DAC_TRIGGER_T6_TRGO;
  sConfig.DAC_Trigger2 = DAC_TRIGGER_NONE;
  sConfig.DAC_OutputBuffer = DAC_OUTPUTBUFFER_ENABLE;
  sConfig.DAC_ConnectOnChipPeripheral = DAC_CHIPCONNECT_EXTERNAL;
  sConfig.DAC_UserTrimming = DAC_TRIMMING_FACTORY;
  if (HAL_DAC_ConfigChannel(&hdac1, &sConfig, DAC_CHANNEL_1) != HAL_OK)
  {
    Error_Handler();
  }

  /** DAC channel OUT2 config
  */
  if (HAL_DAC_ConfigChannel(&hdac1, &sConfig, DAC_CHANNEL_2) != HAL_OK)
  {
    Error_Handler();
  }

}

static void MX_DAC3_Init(void)
{

  DAC_ChannelConfTypeDef sConfig = {0};

  /** DAC Initialization
  */
  hdac3.Instance = DAC3;
  if (HAL_DAC_Init(&hdac3) != HAL_OK)
  {
    Error_Handler();
  }

  /** DAC channel OUT1 config
  */
  sConfig.DAC_HighFrequency = DAC_HIGH_FREQUENCY_INTERFACE_MODE_AUTOMATIC;
  sConfig.DAC_DMADoubleDataMode = DISABLE;
  sConfig.DAC_SignedFormat = DISABLE;
  sConfig.DAC_SampleAndHold = DAC_SAMPLEANDHOLD_DISABLE;
  sConfig.DAC_Trigger = DAC_TRIGGER_NONE;
  sConfig.DAC_Trigger2 = DAC_TRIGGER_NONE;
  sConfig.DAC_OutputBuffer = DAC_OUTPUTBUFFER_DISABLE;
  sConfig.DAC_ConnectOnChipPeripheral = DAC_CHIPCONNECT_INTERNAL;
  sConfig.DAC_UserTrimming = DAC_TRIMMING_FACTORY;
  if (HAL_DAC_ConfigChannel(&hdac3, &sConfig, DAC_CHANNEL_1) != HAL_OK)
  {
    Error_Handler();
  }

  /** DAC channel OUT2 config
  */
  if (HAL_DAC_ConfigChannel(&hdac3, &sConfig, DAC_CHANNEL_2) != HAL_OK)
  {
    Error_Handler();
  }

}

static void MX_DAC4_Init(void)
{

  DAC_ChannelConfTypeDef sConfig = {0};

  /** DAC Initialization
  */
  hdac4.Instance = DAC4;
  if (HAL_DAC_Init(&hdac4) != HAL_OK)
  {
    Error_Handler();
  }

  /** DAC channel OUT1 config
  */
  sConfig.DAC_HighFrequency = DAC_HIGH_FREQUENCY_INTERFACE_MODE_AUTOMATIC;
  sConfig.DAC_DMADoubleDataMode = DISABLE;
  sConfig.DAC_SignedFormat = DISABLE;
  sConfig.DAC_SampleAndHold = DAC_SAMPLEANDHOLD_DISABLE;
  sConfig.DAC_Trigger = DAC_TRIGGER_NONE;
  sConfig.DAC_Trigger2 = DAC_TRIGGER_NONE;
  sConfig.DAC_OutputBuffer = DAC_OUTPUTBUFFER_DISABLE;
  sConfig.DAC_ConnectOnChipPeripheral = DAC_CHIPCONNECT_INTERNAL;
  sConfig.DAC_UserTrimming = DAC_TRIMMING_FACTORY;
  if (HAL_DAC_ConfigChannel(&hdac4, &sConfig, DAC_CHANNEL_1) != HAL_OK)
  {
    Error_Handler();
  }

  /** DAC channel OUT2 config
  */
  if (HAL_DAC_ConfigChannel(&hdac4, &sConfig, DAC_CHANNEL_2) != HAL_OK)
  {
    Error_Handler();
  }

}

static void MX_OPAMP1_Init(void)
{

  hopamp1.Instance = OPAMP1;
  hopamp1.Init.PowerMode = OPAMP_POWERMODE_NORMALSPEED;
  hopamp1.Init.Mode = OPAMP_FOLLOWER_MODE;
  hopamp1.Init.NonInvertingInput = OPAMP_NONINVERTINGINPUT_DAC;
  hopamp1.Init.InternalOutput = DISABLE;
  hopamp1.Init.TimerControlledMuxmode = OPAMP_TIMERCONTROLLEDMUXMODE_DISABLE;
  hopamp1.Init.UserTrimming = OPAMP_TRIMMING_FACTORY;
  if (HAL_OPAMP_Init(&hopamp1) != HAL_OK)
  {
    Error_Handler();
  }

}

static void MX_OPAMP3_Init(void)
{

  hopamp3.Instance = OPAMP3;
  hopamp3.Init.PowerMode = OPAMP_POWERMODE_NORMALSPEED;
  hopamp3.Init.Mode = OPAMP_FOLLOWER_MODE;
  hopamp3.Init.NonInvertingInput = OPAMP_NONINVERTINGINPUT_DAC;
  hopamp3.Init.InternalOutput = DISABLE;
  hopamp3.Init.TimerControlledMuxmode = OPAMP_TIMERCONTROLLEDMUXMODE_DISABLE;
  hopamp3.Init.UserTrimming = OPAMP_TRIMMING_FACTORY;
  if (HAL_OPAMP_Init(&hopamp3) != HAL_OK)
  {
    Error_Handler();
  }

}

static void MX_OPAMP4_Init(void)
{

  hopamp4.Instance = OPAMP4;
  hopamp4.Init.PowerMode = OPAMP_POWERMODE_NORMALSPEED;
  hopamp4.Init.Mode = OPAMP_FOLLOWER_MODE;
  hopamp4.Init.NonInvertingInput = OPAMP_NONINVERTINGINPUT_DAC;
  hopamp4.Init.InternalOutput = DISABLE;
  hopamp4.Init.TimerControlledMuxmode = OPAMP_TIMERCONTROLLEDMUXMODE_DISABLE;
  hopamp4.Init.UserTrimming = OPAMP_TRIMMING_FACTORY;
  if (HAL_OPAMP_Init(&hopamp4) != HAL_OK)
  {
    Error_Handler();
  }

}

static void MX_OPAMP6_Init(void)
{

  hopamp6.Instance = OPAMP6;
  hopamp6.Init.PowerMode = OPAMP_POWERMODE_NORMALSPEED;
  hopamp6.Init.Mode = OPAMP_FOLLOWER_MODE;
  hopamp6.Init.NonInvertingInput = OPAMP_NONINVERTINGINPUT_DAC;
  hopamp6.Init.InternalOutput = DISABLE;
  hopamp6.Init.TimerControlledMuxmode = OPAMP_TIMERCONTROLLEDMUXMODE_DISABLE;
  hopamp6.Init.UserTrimming = OPAMP_TRIMMING_FACTORY;
  if (HAL_OPAMP_Init(&hopamp6) != HAL_OK)
  {
    Error_Handler();
  }

}

static void MX_QUADSPI1_Init(void)
{

  /* QUADSPI1 parameter configuration*/
  hqspi1.Instance = QUADSPI;
  hqspi1.Init.ClockPrescaler = 1;
  hqspi1.Init.FifoThreshold = 1;
  hqspi1.Init.SampleShifting = QSPI_SAMPLE_SHIFTING_NONE;
  hqspi1.Init.FlashSize = 25;
  hqspi1.Init.ChipSelectHighTime = QSPI_CS_HIGH_TIME_1_CYCLE;
  hqspi1.Init.ClockMode = QSPI_CLOCK_MODE_3;
  hqspi1.Init.DualFlash = QSPI_DUALFLASH_ENABLE;
  if (HAL_QSPI_Init(&hqspi1) != HAL_OK)
  {
    Error_Handler();
  }

}

static void MX_SPI2_Init(void)
{

  /* SPI2 parameter configuration*/
  hspi2.Instance = SPI2;
  hspi2.Init.Mode = SPI_MODE_MASTER;
  hspi2.Init.Direction = SPI_DIRECTION_2LINES;
  hspi2.Init.DataSize = SPI_DATASIZE_8BIT;
  hspi2.Init.CLKPolarity = SPI_POLARITY_LOW;
  hspi2.Init.CLKPhase = SPI_PHASE_1EDGE;
  hspi2.Init.NSS = SPI_NSS_HARD_OUTPUT;
  hspi2.Init.BaudRatePrescaler = SPI_BAUDRATEPRESCALER_8;
  hspi2.Init.FirstBit = SPI_FIRSTBIT_MSB;
  hspi2.Init.TIMode = SPI_TIMODE_DISABLE;
  hspi2.Init.CRCCalculation = SPI_CRCCALCULATION_DISABLE;
  hspi2.Init.CRCPolynomial = 7;
  hspi2.Init.CRCLength = SPI_CRC_LENGTH_DATASIZE;
  hspi2.Init.NSSPMode = SPI_NSS_PULSE_ENABLE;
  if (HAL_SPI_Init(&hspi2) != HAL_OK)
  {
    Error_Handler();
  }

}

static void MX_SPI3_Init(void)
{

  /* SPI3 parameter configuration*/
  hspi3.Instance = SPI3;
  hspi3.Init.Mode = SPI_MODE_MASTER;
  hspi3.Init.Direction = SPI_DIRECTION_2LINES;
  hspi3.Init.DataSize = SPI_DATASIZE_8BIT;
  hspi3.Init.CLKPolarity = SPI_POLARITY_LOW;
  hspi3.Init.CLKPhase = SPI_PHASE_1EDGE;
  hspi3.Init.NSS = SPI_NSS_SOFT;
  hspi3.Init.BaudRatePrescaler = SPI_BAUDRATEPRESCALER_16;
  hspi3.Init.FirstBit = SPI_FIRSTBIT_MSB;
  hspi3.Init.TIMode = SPI_TIMODE_DISABLE;
  hspi3.Init.CRCCalculation = SPI_CRCCALCULATION_DISABLE;
  hspi3.Init.CRCPolynomial = 7;
  hspi3.Init.CRCLength = SPI_CRC_LENGTH_DATASIZE;
  hspi3.Init.NSSPMode = SPI_NSS_PULSE_ENABLE;
  if (HAL_SPI_Init(&hspi3) != HAL_OK)
  {
    Error_Handler();
  }

}

static void MX_SPI4_Init(void)
{

  /* SPI4 parameter configuration*/
  hspi4.Instance = SPI4;
  hspi4.Init.Mode = SPI_MODE_MASTER;
  hspi4.Init.Direction = SPI_DIRECTION_2LINES;
  hspi4.Init.DataSize = SPI_DATASIZE_8BIT;
  hspi4.Init.CLKPolarity = SPI_POLARITY_LOW;
  hspi4.Init.CLKPhase = SPI_PHASE_1EDGE;
  hspi4.Init.NSS = SPI_NSS_SOFT;
  hspi4.Init.BaudRatePrescaler = SPI_BAUDRATEPRESCALER_128;
  hspi4.Init.FirstBit = SPI_FIRSTBIT_MSB;
  hspi4.Init.TIMode = SPI_TIMODE_DISABLE;
  hspi4.Init.CRCCalculation = SPI_CRCCALCULATION_DISABLE;
  hspi4.Init.CRCPolynomial = 7;
  hspi4.Init.CRCLength = SPI_CRC_LENGTH_DATASIZE;
  hspi4.Init.NSSPMode = SPI_NSS_PULSE_DISABLE;
  if (HAL_SPI_Init(&hspi4) != HAL_OK)
  {
    Error_Handler();
  }

}

static void MX_TIM2_Init(void)
{

  TIM_ClockConfigTypeDef sClockSourceConfig = {0};
  TIM_MasterConfigTypeDef sMasterConfig = {0};

  htim2.Instance = TIM2;
  htim2.Init.Prescaler = 15999;
  htim2.Init.CounterMode = TIM_COUNTERMODE_UP;
  htim2.Init.Period = 10;
  htim2.Init.ClockDivision = TIM_CLOCKDIVISION_DIV1;
  htim2.Init.AutoReloadPreload = TIM_AUTORELOAD_PRELOAD_DISABLE;
  if (HAL_TIM_Base_Init(&htim2) != HAL_OK)
  {
    Error_Handler();
  }
  sClockSourceConfig.ClockSource = TIM_CLOCKSOURCE_INTERNAL;
  if (HAL_TIM_ConfigClockSource(&htim2, &sClockSourceConfig) != HAL_OK)
  {
    Error_Handler();
  }
  sMasterConfig.MasterOutputTrigger = TIM_TRGO_RESET;
  sMasterConfig.MasterSlaveMode = TIM_MASTERSLAVEMODE_DISABLE;
  if (HAL_TIMEx_MasterConfigSynchronization(&htim2, &sMasterConfig) != HAL_OK)
  {
    Error_Handler();
  }

}

static void MX_TIM6_Init(void)
{

  TIM_MasterConfigTypeDef sMasterConfig = {0};

  htim6.Instance = TIM6;
  htim6.Init.Prescaler = 0;
  htim6.Init.CounterMode = TIM_COUNTERMODE_UP;
  htim6.Init.Period = 1813;
  htim6.Init.AutoReloadPreload = TIM_AUTORELOAD_PRELOAD_ENABLE;
  if (HAL_TIM_Base_Init(&htim6) != HAL_OK)
  {
    Error_Handler();
  }
  sMasterConfig.MasterOutputTrigger = TIM_TRGO_UPDATE;
  sMasterConfig.MasterSlaveMode = TIM_MASTERSLAVEMODE_DISABLE;
  if (HAL_TIMEx_MasterConfigSynchronization(&htim6, &sMasterConfig) != HAL_OK)
  {
    Error_Handler();
  }

}

static void MX_UART5_Init(void)
{

  huart5.Instance = UART5;
  huart5.Init.BaudRate = 16000000;
  huart5.Init.WordLength = UART_WORDLENGTH_8B;
  huart5.Init.StopBits = UART_STOPBITS_2;
  huart5.Init.Parity = UART_PARITY_NONE;
  huart5.Init.Mode = UART_MODE_TX_RX;
  huart5.Init.HwFlowCtl = UART_HWCONTROL_NONE;
  huart5.Init.OverSampling = UART_OVERSAMPLING_8;
  huart5.Init.OneBitSampling = UART_ONE_BIT_SAMPLE_DISABLE;
  huart5.Init.ClockPrescaler = UART_PRESCALER_DIV1;
  huart5.AdvancedInit.AdvFeatureInit = UART_ADVFEATURE_SWAP_INIT;
  huart5.AdvancedInit.Swap = UART_ADVFEATURE_SWAP_ENABLE;
  if (HAL_UART_Init(&huart5) != HAL_OK)
  {
    Error_Handler();
  }
  if (HAL_UARTEx_SetTxFifoThreshold(&huart5, UART_TXFIFO_THRESHOLD_1_8) != HAL_OK)
  {
    Error_Handler();
  }
  if (HAL_UARTEx_SetRxFifoThreshold(&huart5, UART_RXFIFO_THRESHOLD_1_8) != HAL_OK)
  {
    Error_Handler();
  }
  if (HAL_UARTEx_EnableFifoMode(&huart5) != HAL_OK)
  {
    Error_Handler();
  }

}

static void MX_USART3_Init(void)
{

  husart3.Instance = USART3;
  husart3.Init.BaudRate = 1000000;
  husart3.Init.WordLength = USART_WORDLENGTH_8B;
  husart3.Init.StopBits = USART_STOPBITS_1;
  husart3.Init.Parity = USART_PARITY_NONE;
  husart3.Init.Mode = USART_MODE_TX_RX;
  husart3.Init.CLKPolarity = USART_POLARITY_LOW;
  husart3.Init.CLKPhase = USART_PHASE_1EDGE;
  husart3.Init.CLKLastBit = USART_LASTBIT_DISABLE;
  husart3.Init.ClockPrescaler = USART_PRESCALER_DIV1;
  husart3.SlaveMode = USART_SLAVEMODE_DISABLE;
  if (HAL_USART_Init(&husart3) != HAL_OK)
  {
    Error_Handler();
  }
  if (HAL_USARTEx_SetTxFifoThreshold(&husart3, USART_TXFIFO_THRESHOLD_1_8) != HAL_OK)
  {
    Error_Handler();
  }
  if (HAL_USARTEx_SetRxFifoThreshold(&husart3, USART_RXFIFO_THRESHOLD_1_8) != HAL_OK)
  {
    Error_Handler();
  }
  if (HAL_USARTEx_DisableFifoMode(&husart3) != HAL_OK)
  {
    Error_Handler();
  }

}

static void MX_DMA_Init(void)
{

  /* DMA controller clock enable */
  __HAL_RCC_DMAMUX1_CLK_ENABLE();
  __HAL_RCC_DMA1_CLK_ENABLE();
  __HAL_RCC_DMA2_CLK_ENABLE();

  /* DMA interrupt init */
  /* DMA1_Channel1_IRQn interrupt configuration */
  HAL_NVIC_SetPriority(DMA1_Channel1_IRQn, 5, 0);
  HAL_NVIC_EnableIRQ(DMA1_Channel1_IRQn);
  /* DMA1_Channel2_IRQn interrupt configuration */
  HAL_NVIC_SetPriority(DMA1_Channel2_IRQn, 5, 0);
  HAL_NVIC_EnableIRQ(DMA1_Channel2_IRQn);
  /* DMA2_Channel1_IRQn interrupt configuration */
  HAL_NVIC_SetPriority(DMA2_Channel1_IRQn, 5, 0);
  HAL_NVIC_EnableIRQ(DMA2_Channel1_IRQn);
  /* DMAMUX_OVR_IRQn interrupt configuration */
  HAL_NVIC_SetPriority(DMAMUX_OVR_IRQn, 5, 0);
  HAL_NVIC_EnableIRQ(DMAMUX_OVR_IRQn);

}

static void MX_GPIO_Init(void)
{
  GPIO_InitTypeDef GPIO_InitStruct = {0};

  /* GPIO Ports Clock Enable */
  __HAL_RCC_GPIOE_CLK_ENABLE();
  __HAL_RCC_GPIOB_CLK_ENABLE();
  __HAL_RCC_GPIOD_CLK_ENABLE();
  __HAL_RCC_GPIOC_CLK_ENABLE();
  __HAL_RCC_GPIOA_CLK_ENABLE();
  __HAL_RCC_GPIOF_CLK_ENABLE();

  /*Configure GPIO pin Output Level */
  HAL_GPIO_WritePin(SD_CS_GPIO_Port, SD_CS_Pin, GPIO_PIN_SET);

  /*Configure GPIO pin Output Level */
  HAL_GPIO_WritePin(TFT_NRST_GPIO_Port, TFT_NRST_Pin, GPIO_PIN_RESET);

  /*Configure GPIO pin Output Level */
  HAL_GPIO_WritePin(GPIOF, AUD_ORANGE_R_OUTPUT_EN_Pin|AUD_ORANGE_L_OUTPUT_EN_Pin, GPIO_PIN_RESET);

  /*Configure GPIO pin Output Level */
  HAL_GPIO_WritePin(GPIOC, MICRO_SD_CS_Pin|AUD_GREEN_L_OUTPUT_EN_Pin|AUD_GREEN_R_OUTPUT_EN_Pin|ROT_S2_Pin
                          |ROT_B_Pin, GPIO_PIN_RESET);

  /*Configure GPIO pin Output Level */
  HAL_GPIO_WritePin(GPIOA, TFT_SPI_DC_Pin|TFT_LED_LEVEL_Pin, GPIO_PIN_RESET);

  /*Configure GPIO pin : SD_CS_Pin */
  GPIO_InitStruct.Pin = SD_CS_Pin;
  GPIO_InitStruct.Mode = GPIO_MODE_OUTPUT_PP;
  GPIO_InitStruct.Pull = GPIO_NOPULL;
  GPIO_InitStruct.Speed = GPIO_SPEED_FREQ_VERY_HIGH;
  HAL_GPIO_Init(SD_CS_GPIO_Port, &GPIO_InitStruct);

  /*Configure GPIO pin : TFT_NRST_Pin */
  GPIO_InitStruct.Pin = TFT_NRST_Pin;
  GPIO_InitStruct.Mode = GPIO_MODE_OUTPUT_PP;
  GPIO_InitStruct.Pull = GPIO_NOPULL;
  GPIO_InitStruct.Speed = GPIO_SPEED_FREQ_LOW;
  HAL_GPIO_Init(TFT_NRST_GPIO_Port, &GPIO_InitStruct);

  /*Configure GPIO pin : BRIDGE_CLK_Pin */
  GPIO_InitStruct.Pin = BRIDGE_CLK_Pin;
  GPIO_InitStruct.Mode = GPIO_MODE_AF_PP;
  GPIO_InitStruct.Pull = GPIO_NOPULL;
  GPIO_InitStruct.Speed = GPIO_SPEED_FREQ_LOW;
  GPIO_InitStruct.Alternate = GPIO_AF4_TIM8;
  HAL_GPIO_Init(BRIDGE_CLK_GPIO_Port, &GPIO_InitStruct);

  /*Configure GPIO pins : RIGHT_BUTTON_Pin UP_BUTTON_Pin DOWN_BUTTON_Pin LEFT_BUTTON_Pin */
  GPIO_InitStruct.Pin = RIGHT_BUTTON_Pin|UP_BUTTON_Pin|DOWN_BUTTON_Pin|LEFT_BUTTON_Pin;
  GPIO_InitStruct.Mode = GPIO_MODE_IT_RISING_FALLING;
  GPIO_InitStruct.Pull = GPIO_PULLUP;
  HAL_GPIO_Init(GPIOA, &GPIO_InitStruct);

  /*Configure GPIO pins : AUD_ORANGE_R_OUTPUT_EN_Pin AUD_ORANGE_L_OUTPUT_EN_Pin */
  GPIO_InitStruct.Pin = AUD_ORANGE_R_OUTPUT_EN_Pin|AUD_ORANGE_L_OUTPUT_EN_Pin;
  GPIO_InitStruct.Mode = GPIO_MODE_OUTPUT_PP;
  GPIO_InitStruct.Pull = GPIO_NOPULL;
  GPIO_InitStruct.Speed = GPIO_SPEED_FREQ_LOW;
  HAL_GPIO_Init(GPIOF, &GPIO_InitStruct);

  /*Configure GPIO pins : MICRO_SD_CS_Pin AUD_GREEN_L_OUTPUT_EN_Pin AUD_GREEN_R_OUTPUT_EN_Pin ROT_S2_Pin
                           ROT_B_Pin */
  GPIO_InitStruct.Pin = MICRO_SD_CS_Pin|AUD_GREEN_L_OUTPUT_EN_Pin|AUD_GREEN_R_OUTPUT_EN_Pin|ROT_S2_Pin
                          |ROT_B_Pin;
  GPIO_InitStruct.Mode = GPIO_MODE_OUTPUT_PP;
  GPIO_InitStruct.Pull = GPIO_NOPULL;
  GPIO_InitStruct.Speed = GPIO_SPEED_FREQ_LOW;
  HAL_GPIO_Init(GPIOC, &GPIO_InitStruct);

  /*Configure GPIO pins : ROT_A_Pin ROT_C_Pin */
  GPIO_InitStruct.Pin = ROT_A_Pin|ROT_C_Pin;
  GPIO_InitStruct.Mode = GPIO_MODE_INPUT;
  GPIO_InitStruct.Pull = GPIO_PULLUP;
  HAL_GPIO_Init(GPIOC, &GPIO_InitStruct);

  /*Configure GPIO pins : TFT_SPI_DC_Pin TFT_LED_LEVEL_Pin */
  GPIO_InitStruct.Pin = TFT_SPI_DC_Pin|TFT_LED_LEVEL_Pin;
  GPIO_InitStruct.Mode = GPIO_MODE_OUTPUT_PP;
  GPIO_InitStruct.Pull = GPIO_NOPULL;
  GPIO_InitStruct.Speed = GPIO_SPEED_FREQ_LOW;
  HAL_GPIO_Init(GPIOA, &GPIO_InitStruct);

  /*Configure GPIO pin : ROT_S1_Pin */
  GPIO_InitStruct.Pin = ROT_S1_Pin;
  GPIO_InitStruct.Mode = GPIO_MODE_IT_RISING_FALLING;
  GPIO_InitStruct.Pull = GPIO_PULLUP;
  HAL_GPIO_Init(ROT_S1_GPIO_Port, &GPIO_InitStruct);

  /* EXTI interrupt init*/
  HAL_NVIC_SetPriority(EXTI9_5_IRQn, 5, 0);
  HAL_NVIC_EnableIRQ(EXTI9_5_IRQn);

  HAL_NVIC_SetPriority(EXTI15_10_IRQn, 5, 0);
  HAL_NVIC_EnableIRQ(EXTI15_10_IRQn);

}

void StartDefaultTask(void *argument)
{
  /* USER CODE BEGIN 5 */
	while(1){
		vTaskDelay(5000);
		console_print_time(), console_write("System Up\n", 11);
	}
  /* USER CODE END 5 */
}

void HAL_TIM_PeriodElapsedCallback(TIM_HandleTypeDef *htim)
{
  /* USER CODE BEGIN Callback 0 */
	  if(htim->Instance == TIM2)
	  {
		  if (HAL_GPIO_ReadPin(GPIOC, GPIO_PIN_2) == GPIO_PIN_RESET)
		  {
		   if (HAL_GPIO_ReadPin(GPIOC, GPIO_PIN_4) == GPIO_PIN_RESET)
		   {
		    while (HAL_GPIO_ReadPin(GPIOC, GPIO_PIN_4) == GPIO_PIN_RESET){};
		    counter--;
		    up_pressed = true;
		    while (HAL_GPIO_ReadPin(GPIOC, GPIO_PIN_2) == GPIO_PIN_RESET){};
		   }
		  }

		   else {
			   if (HAL_GPIO_ReadPin(GPIOC, GPIO_PIN_4) == GPIO_PIN_RESET)
			   	  {
		    counter++;
		    down_pressed = true;
		    while (HAL_GPIO_ReadPin(GPIOC, GPIO_PIN_4) == GPIO_PIN_RESET){};
		    while (HAL_GPIO_ReadPin(GPIOC, GPIO_PIN_2) == GPIO_PIN_RESET){};
			   	  }
		   }
	  }

	  if(htim->Instance == AUDIO_44_1_KHZ_TIMER.Instance) {
		  get_audio_sample();
	  }
  /* USER CODE END Callback 0 */
  if (htim->Instance == TIM7) {
    HAL_IncTick();
  }
}

void Error_Handler(void)
{
  __disable_irq();
  while (1)
  {
  }
}
